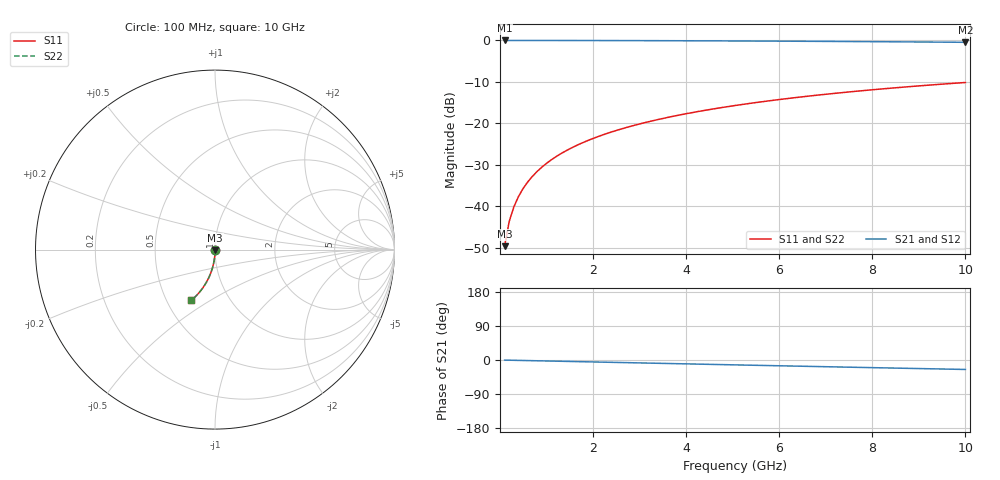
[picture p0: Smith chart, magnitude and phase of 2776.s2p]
# Hz S RI R 50.00
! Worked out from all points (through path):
!   100 points, 100 MHz to 10 GHz, reference 50 ohm
!   highest |S21| = 0.00 dB at 100 MHz (marker M1); lowest = -0.4 dB at 10 GHz (marker M2)
!   group delay of S21, straight-line fit = 6.95 ps
!   lowest |S11| = -49.6 dB at 100 MHz (marker M3), VSWR 1.01, Z = 50 - j0.33 ohm
!   |S11| at or under -10 dB: start of sweep to end of sweep
!   |S22| runs from -49.6 to -10.1 dB; largest |S21 - S12| = 0
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1e8  0.000252 -0.0033  0.9997 -0.00447  0.9997 -0.00447  0.000252 -0.0033
2e8  0.000206 -0.00659  0.9997 -0.00894  0.9997 -0.00894  0.000206 -0.00659
3e8  0.00013 -0.00989  0.9996 -0.0134  0.9996 -0.0134  0.00013 -0.00989
4e8  2.45e-05 -0.0132  0.9995 -0.0179  0.9995 -0.0179  2.45e-05 -0.0132
5e8  -0.000111 -0.0165  0.9993 -0.0223  0.9993 -0.0223  -0.000111 -0.0165
6e8  -0.000276 -0.0198  0.9991 -0.0268  0.9991 -0.0268  -0.000276 -0.0198
7e8  -0.00047 -0.0231  0.9989 -0.0313  0.9989 -0.0313  -0.00047 -0.0231
8e8  -0.000694 -0.0263  0.9987 -0.0357  0.9987 -0.0357  -0.000694 -0.0263
9e8  -0.000947 -0.0296  0.9984 -0.0402  0.9984 -0.0402  -0.000947 -0.0296
1.1e9  -0.00154 -0.0362  0.9978 -0.0491  0.9978 -0.0491  -0.00154 -0.0362
1.4e9  -0.00265 -0.046  0.9966 -0.0624  0.9966 -0.0624  -0.00265 -0.046
1.8e9  -0.00454 -0.059  0.9947 -0.0802  0.9947 -0.0802  -0.00454 -0.059
2.1e9  -0.00626 -0.0688  0.9929 -0.0934  0.9929 -0.0934  -0.00626 -0.0688
2.5e9  -0.00896 -0.0816  0.99 -0.111  0.99 -0.111  -0.00896 -0.0816
2.9e9  -0.0121 -0.0944  0.9867 -0.1284  0.9867 -0.1284  -0.0121 -0.0944
3.4e9  -0.0167 -0.1101  0.982 -0.1501  0.982 -0.1501  -0.0167 -0.1101
4.2e9  -0.0254 -0.1347  0.9728 -0.1841  0.9728 -0.1841  -0.0254 -0.1347
5.1e9  -0.0371 -0.1615  0.9605 -0.2215  0.9605 -0.2215  -0.0371 -0.1615
5.9e9  -0.0492 -0.1842  0.9477 -0.2537  0.9477 -0.2537  -0.0492 -0.1842
6.7e9  -0.0628 -0.2059  0.9335 -0.2849  0.9335 -0.2849  -0.0628 -0.2059
8.4e9  -0.0958 -0.2479  0.8986 -0.3473  0.8986 -0.3473  -0.0958 -0.2479
1e10  -0.1313 -0.282  0.861 -0.4007  0.861 -0.4007  -0.1313 -0.282
